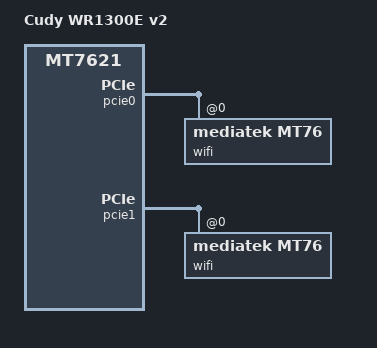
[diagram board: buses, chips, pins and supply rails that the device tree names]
// SPDX-License-Identifier: GPL-2.0-or-later OR MIT
// Cudy WR1300E v2.0 (R60): source candidate, hardware not tested.
// Mappings cross-checked against original Cudy 2.4.22 and third-party OpenWrt 25.12.5 DTBs.
#include "mt7621_cudy_wr1300-v2v3.dtsi"
#include <dt-bindings/gpio/gpio.h>
#include <dt-bindings/leds/common.h>

/ {
    compatible = "cudy,wr1300e-v2", "mediatek,mt7621-soc";
    model = "Cudy WR1300E v2";

    aliases {
        led-boot = &led_sys;
        led-failsafe = &led_red;
        led-running = &led_sys;
        led-upgrade = &led_red;
    };
};

// Two LAN ports (physical switch port 2 = lan2, port 3 = lan1), one WAN via gmac1.
&switch0 {
    ports {
        port@0 { status = "disabled"; };
        port@1 { status = "disabled"; };
        port@2 { status = "okay"; label = "lan2"; };
        port@3 { status = "okay"; label = "lan1"; };
        port@4 { status = "disabled"; };
    };
};

// WR1300E v2 PCIe mapping differs from ordinary WR1300 v2.
&pcie0 {
    wifi@0,0 {
        compatible = "mediatek,mt76";
        reg = <0x0000 0 0 0 0>;
        nvmem-cells = <&eeprom_factory_0>, <&macaddr_bdinfo_de00 0>;
        nvmem-cell-names = "eeprom", "mac-address";
        ieee80211-freq-limit = <2400000 2500000>;
    };
};

&pcie1 {
    wifi@0,0 {
        compatible = "mediatek,mt76";
        reg = <0x0000 0 0 0 0>;
        nvmem-cells = <&eeprom_factory_8000>, <&macaddr_bdinfo_de00 2>;
        nvmem-cell-names = "eeprom", "mac-address";
        ieee80211-freq-limit = <5000000 6000000>;
    };
};

&{/leds} {
    /delete-node/ wps;
    led_red: red {
        label = "red:status";
        color = <LED_COLOR_ID_RED>;
        function = LED_FUNCTION_STATUS;
        gpios = <&gpio 3 GPIO_ACTIVE_LOW>;
    };
    internet {
        label = "green:wan-online";
        color = <LED_COLOR_ID_GREEN>;
        function = "wan-online";
        gpios = <&gpio 13 GPIO_ACTIVE_LOW>;
    };
    wan {
        label = "green:wan";
        color = <LED_COLOR_ID_GREEN>;
        function = LED_FUNCTION_WAN;
        gpios = <&gpio 14 GPIO_ACTIVE_LOW>;
    };
    lan {
        label = "green:lan";
        color = <LED_COLOR_ID_GREEN>;
        function = LED_FUNCTION_LAN;
        gpios = <&gpio 42 GPIO_ACTIVE_LOW>;
    };
    wifi2 {
        label = "green:wlan-2ghz";
        color = <LED_COLOR_ID_GREEN>;
        function = "wlan-2ghz";
        gpios = <&gpio 47 GPIO_ACTIVE_LOW>;
    };
    wifi5 {
        label = "green:wlan-5ghz";
        color = <LED_COLOR_ID_GREEN>;
        function = "wlan-5ghz";
        gpios = <&gpio 45 GPIO_ACTIVE_LOW>;
    };
};

&state_default {
    gpio {
        groups = "uart3", "wdt", "i2c", "jtag";
        function = "gpio";
    };
};
